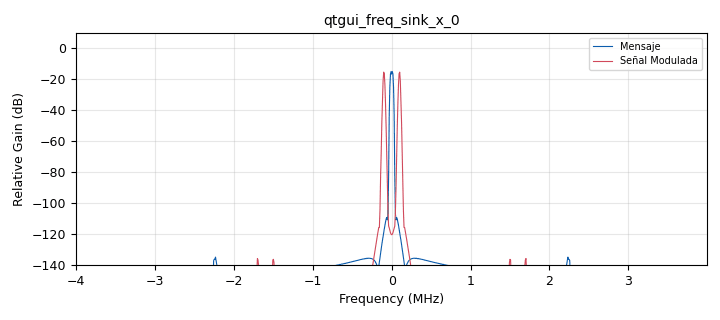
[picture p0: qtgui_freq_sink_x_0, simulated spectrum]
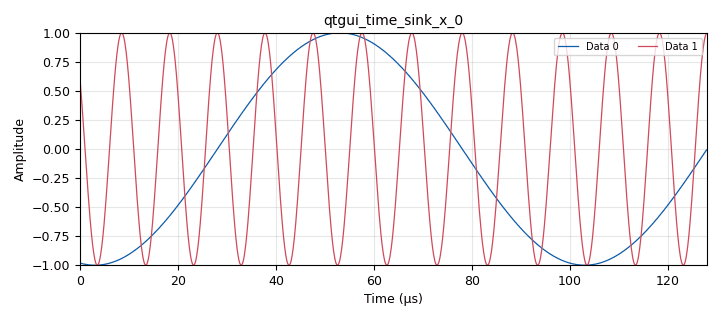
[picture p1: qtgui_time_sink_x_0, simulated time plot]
options:
  parameters:
    category: Custom
    generate_options: qt_gui
    id: FM_analog
    output_language: python
  states: {}

blocks:
- name: deltaF
  id: variable_qtgui_range
  parameters:
    start: '0'
    step: '.1'
    stop: '200000'
    value: '3000'
  states: {}
- name: f_m
  id: variable_qtgui_range
  parameters:
    start: '7000'
    step: '100'
    stop: '21000'
    value: '10000'
  states: {}
- name: fc
  id: variable_qtgui_range
  parameters:
    start: '15000'
    step: '100'
    stop: '100000'
    value: '100000'
  states: {}
- name: samp_rate
  id: variable
  parameters:
    value: '8000000'
  states: {}
- name: analog_sig_source_x_0
  id: analog_sig_source_x
  parameters:
    amp: '1'
    freq: fc
    offset: '0'
    phase: '0'
    samp_rate: samp_rate
    type: float
    waveform: analog.GR_COS_WAVE
  states: {}
- name: analog_sig_source_x_0_0
  id: analog_sig_source_x
  parameters:
    amp: '1'
    freq: fc
    offset: '0'
    phase: '0'
    samp_rate: samp_rate
    type: float
    waveform: analog.GR_SIN_WAVE
  states: {}
- name: analog_sig_source_x_1_0
  id: analog_sig_source_x
  parameters:
    amp: '1'
    freq: f_m
    offset: '0'
    phase: '0'
    samp_rate: samp_rate
    type: float
    waveform: analog.GR_SIN_WAVE
  states: {}
- name: blocks_multiply_const_vxx_0
  id: blocks_multiply_const_vxx
  parameters:
    const: float(float(deltaF)/float(f_m))
    type: float
  states: {}
- name: blocks_multiply_xx_0
  id: blocks_multiply_xx
  parameters:
    type: float
  states: {}
- name: blocks_multiply_xx_0_0
  id: blocks_multiply_xx
  parameters:
    type: float
  states: {}
- name: blocks_sub_xx_0
  id: blocks_sub_xx
  parameters:
    type: float
  states: {}
- name: blocks_throttle2_0
  id: blocks_throttle2
  parameters:
    samples_per_second: samp_rate
    type: float
  states: {}
- name: blocks_throttle2_0_0
  id: blocks_throttle2
  parameters:
    samples_per_second: samp_rate
    type: float
  states: {}
- name: blocks_throttle2_0_1
  id: blocks_throttle2
  parameters:
    samples_per_second: samp_rate
    type: float
  states: {}
- name: blocks_transcendental_0
  id: blocks_transcendental
  parameters:
    name: sin
    type: float
  states: {}
- name: blocks_transcendental_0_0
  id: blocks_transcendental
  parameters:
    name: cos
    type: float
  states: {}
- name: qtgui_freq_sink_x_0
  id: qtgui_freq_sink_x
  parameters:
    bw: samp_rate
    ctrlpanel: 'True'
    fc: '0'
    fftsize: '1024'
    gui_hint: tab@1
    label1: Mensaje
    label2: Señal Modulada
    nconnections: '2'
    showports: 'True'
    type: float
  states: {}
- name: qtgui_time_sink_x_0
  id: qtgui_time_sink_x
  parameters:
    ctrlpanel: 'True'
    gui_hint: tab@0
    label1: ''
    label2: ''
    nconnections: '2'
    size: '1024'
    srate: samp_rate
    type: float
  states: {}
- name: tab
  id: qtgui_tab_widget
  parameters:
    label0: Tiempo
    label1: Frecuencia
    num_tabs: '2'
  states: {}

connections:
- [analog_sig_source_x_0, '0', blocks_throttle2_0_0, '0']
- [analog_sig_source_x_0_0, '0', blocks_throttle2_0, '0']
- [analog_sig_source_x_1_0, '0', blocks_throttle2_0_1, '0']
- [blocks_multiply_const_vxx_0, '0', blocks_transcendental_0, '0']
- [blocks_multiply_const_vxx_0, '0', blocks_transcendental_0_0, '0']
- [blocks_multiply_xx_0, '0', blocks_sub_xx_0, '1']
- [blocks_multiply_xx_0_0, '0', blocks_sub_xx_0, '0']
- [blocks_sub_xx_0, '0', qtgui_freq_sink_x_0, '1']
- [blocks_sub_xx_0, '0', qtgui_time_sink_x_0, '1']
- [blocks_throttle2_0, '0', blocks_multiply_xx_0, '0']
- [blocks_throttle2_0_0, '0', blocks_multiply_xx_0_0, '0']
- [blocks_throttle2_0_1, '0', blocks_multiply_const_vxx_0, '0']
- [blocks_throttle2_0_1, '0', qtgui_freq_sink_x_0, '0']
- [blocks_throttle2_0_1, '0', qtgui_time_sink_x_0, '0']
- [blocks_transcendental_0, '0', blocks_multiply_xx_0, '1']
- [blocks_transcendental_0_0, '0', blocks_multiply_xx_0_0, '1']

metadata:
  file_format: 1
  grc_version: 3.10.12.0
